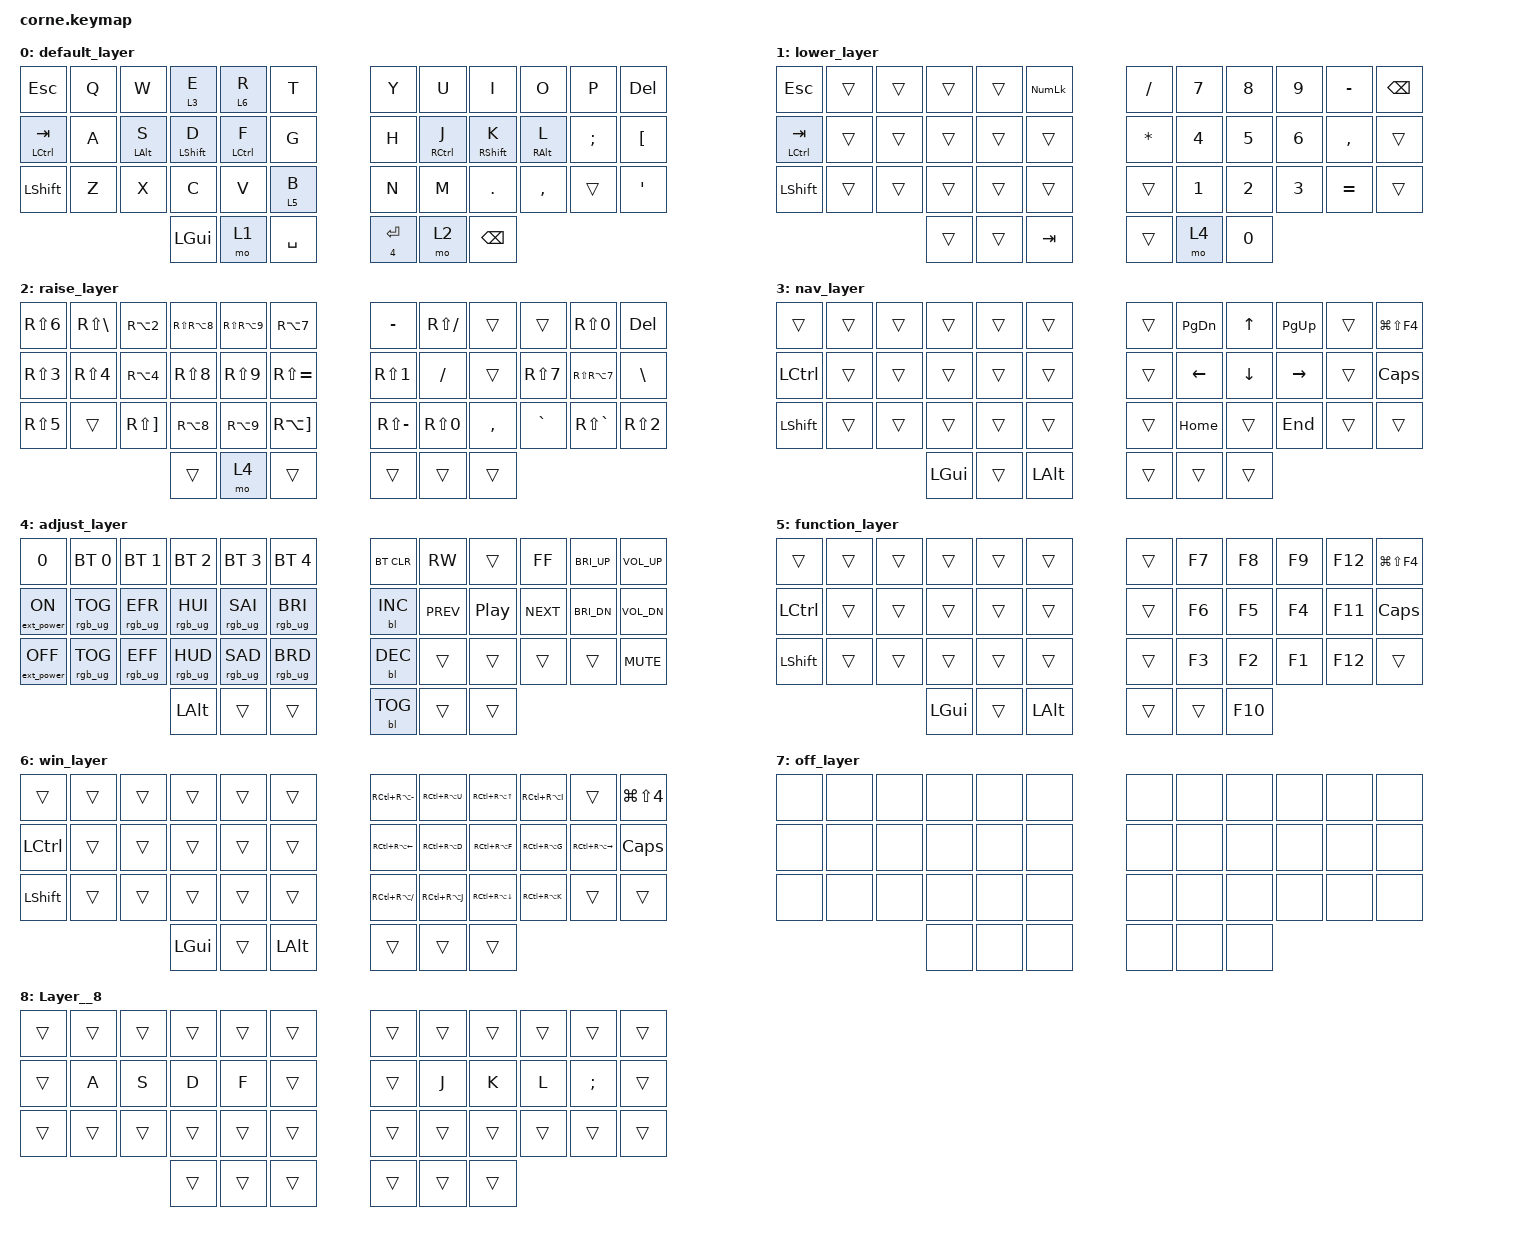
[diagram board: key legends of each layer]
/*
 * Copyright (c) 2020 The ZMK Contributors
 *
 * SPDX-License-Identifier: MIT
 */

#include <behaviors.dtsi>
#include <dt-bindings/zmk/keys.h>
#include <dt-bindings/zmk/bt.h>
#include <dt-bindings/zmk/ext_power.h>// defines readable layer index
#include <dt-bindings/zmk/rgb.h>
#include <dt-bindings/zmk/backlight.h>


#define DEFAULT 0
#define LOWER   1
#define RAISE   2
#define NAVI    3
#define ADJS    4
#define FUNC    5
#define WIN     6
#define off_layer 7

&mt {
    tapping-term-ms = <400>;
};

/ {
    behaviors {
        hm: homerow_mods {
            compatible = "zmk,behavior-hold-tap";
            label = "HOMEROW_MODS";
            #binding-cells = <2>;
            tapping-term-ms = <400>;
            quick-tap-ms = <0>;
            flavor = "tap-preferred";
            bindings =
                <&kp>,
                <&kp>;
        };
    };

    combos {
        compatible = "zmk,combos";

        gaming_layer_combo {
            bindings = <&tog 8>;
            key-positions = <2 3 4 7 8 9>;
        };

        suspend_layer_combo {
            bindings = <&tog 7>;
            key-positions = <14 15 16 19 20 21>;
        };
    };

    keymap {
        compatible = "zmk,keymap";

        default_layer {
            // DEFAULT LAYER
            // .--------------------------------------------------------------.       .-----------------------------------------------------------.
            // |   ESC        |    Q    |    W   |  E/NAV | R/WIN   |    T    |       |   Y   |    U    |    I    |    O    |     P    |   BKSP   |
            // |--------------+---------+--------+--------+---------+---------|       |-------+---------+---------+---------+----------+----------|
            // |   CTRL/Tab   |    A    |    S   |   D    | F       |    G    |       |   H   |    J    |    K    |    L    |     Ö    |     Ä    |
            // |--------------+---------+--------+--------+---------+---------|       |-------+---------+---------+---------+----------+----------|
            // |   SHFT       |    Z    |    X   |   C    |    V    | B/FUNC  |       |   N   |    M    |    .    |    ,    |     Å    |     NAV  |
            // '---------------------------------+--------+---------+---------+       |-------+---------+---------+-------------------------------'
            //                                   |  GUI   |   RSE   |   SPC   |       |  ENT  |   LWR   |  LALT   |
            //                                   '--------+---------+---------'       '-------+---------+---------'

            bindings = <
      &kp ESC   &kp Q       &kp W     &lt 3 E     &lt 6 R    &kp T              &kp Y       &kp U       &kp I       &kp O     &kp P  &kp DEL
 &mt LCTRL TAB   &kp A  &hm LALT S  &hm LSHIFT D  &hm LCTRL F    &kp G              &kp H       &hm RCTRL J  &hm RSHIFT K  &hm RALT L  &kp SEMI  &kp LBKT
     &kp LSHIFT   &kp Z       &kp X       &kp C       &kp V  &lt 5 B              &kp N       &kp M     &kp DOT    &kp COMMA    &trans  &kp SQT
                                     &kp LGUI       &mo 1  &kp SPACE              &mt 4 RET   &mo 2 &kp BSPC     
            >;
        };

        lower_layer {
            // LOWER Layer: Media and Number Pad
            // .--------------------------------------------------------------.    .-----------------------------------------------------------.
            // |     ESC      |         |        |        |         | Numlock |    |  / ?  |   7 &   |   8 *   |   9 (   |   - _    |   BKSP   |
            // |--------------+---------+--------+--------+---------+---------|    |-------+---------+---------+---------+----------+----------|
            // |  CTRL/Tab    |         |        |        |         |         |    |   *   |   4 $   |   5 %   |   6 ^   |   , <    |          |
            // |--------------+---------+--------+--------+---------+---------|    |-------+---------+---------+---------+----------+----------|
            // |  SHIFT       |         |        |        |         |         |    |       |   1 !   |   2 @   |   3 #   |   = +    |          |
            // '---------------------------------+--------+---------+---------+    |-------+---------+---------+-------------------------------'
            //                                   |        |         |         |    |       |         |    0 )  |
            //                                   '--------+---------+---------'    '-------+---------+---------'

            bindings = <
      &kp ESC  &trans  &trans  &trans  &trans  &kp KP_NUMLOCK          &kp FSLH  &kp NUMBER_7  &kp NUMBER_8  &kp NUMBER_9  &kp MINUS  &kp BSPC
 &mt LCTRL TAB  &trans  &trans  &trans  &trans          &trans          &kp STAR  &kp NUMBER_4  &kp NUMBER_5  &kp NUMBER_6  &kp COMMA    &trans
     &kp LSHIFT  &trans  &trans  &trans  &trans          &trans            &trans  &kp NUMBER_1  &kp NUMBER_2  &kp NUMBER_3  &kp EQUAL    &trans
                               &trans  &trans          &kp TAB            &trans         &mo 4  &kp NUMBER_0
            >;
        };

        raise_layer {
            // RAISE Layer: Special Chars
            // .--------------------------------------------------------------.    .-----------------------------------------------------------.
            // |       &      |   *     |    @   |   {    |    }    |    |    |    |   +   |    -    |         |         |          |   DEL    |
            // |--------------+---------+--------+--------+---------+---------|    |-------+---------+---------+---------+----------+----------|
            // |       #      |         |    $   |   (    |    )    |    `    |    |   !   |    _    |         |    /    |   \      |     '    |
            // |--------------+---------+--------+--------+---------+---------|    |-------+---------+---------+---------+----------+----------|
            // |       %      |         |    ^   |   [    |    ]    |    ~    |    |   ?   |    =    |    ,    |    <    |   >      |    ""    |
            // '---------------------------------+--------+---------+---------+    |-------+---------+---------+-------------------------------'
            //                                   |        |         |         |    |       |         |         |
            //                                   '--------+---------+---------'    '-------+---------+---------'

            bindings = <
 &kp RS(N6)  &kp RS(BSLH)    &kp RA(N2)  &kp RS(RA(N8))  &kp RS(RA(N9))     &kp RA(N7)              &kp MINUS  &kp RS(FSLH)     &trans      &trans      &kp RS(N0)     &kp DEL
 &kp RS(N3)    &kp RS(N4)    &kp RA(N4)      &kp RS(N8)      &kp RS(N9)  &kp RS(EQUAL)             &kp RS(N1)      &kp FSLH     &trans  &kp RS(N7)  &kp RS(RA(N7))    &kp BSLH
 &kp RS(N5)        &trans  &kp RS(RBKT)      &kp RA(N8)      &kp RA(N9)   &kp RA(RBKT)          &kp RS(MINUS)    &kp RS(N0)  &kp COMMA   &kp GRAVE   &kp RS(GRAVE)  &kp RS(N2)
                                                 &trans           &mo 4         &trans                 &trans        &trans     &trans
            >;
        };

        nav_layer {
            // NAVIGATION Layer: Directions
            // .--------------------------------------------------------------.    .-----------------------------------------------------------.
            // |              |         |        |        |         |         |    |       |  PG DN  |   UP    |  PG UP  |          |  PrtScn  |
            // |--------------+---------+--------+--------+---------+---------|    |-------+---------+---------+---------+----------+----------|
            // |     CTRL     |         |        |        |         |         |    |       |  LEFT   |  DOWN   |  RIGHT  |          | CAPS LCK |
            // |--------------+---------+--------+--------+---------+---------|    |-------+---------+---------+---------+----------+----------|
            // |     SHIFT    |         |        |        |         |         |    |       | PG HOME |         | PG END  |          |          |
            // '---------------------------------+--------+---------+---------+    |-------+---------+---------+-------------------------------'
            //                                   |  GUI   |         |   ALT   |    |       |         |         |
            //                                   '--------+---------+---------'    '-------+---------+---------'

            bindings = <
   &trans  &trans  &trans    &trans  &trans    &trans          &trans  &kp PG_DN  &kp UP  &kp PG_UP  &trans  &kp LG(LS(F4))
 &kp LCTRL  &trans  &trans    &trans  &trans    &trans          &trans   &kp LEFT  &kp DOWN   &kp RIGHT  &trans        &kp CLCK
 &kp LSHIFT  &trans  &trans    &trans  &trans    &trans          &trans   &kp HOME    &trans    &kp END  &trans          &trans
                           &kp LGUI  &trans  &kp LALT          &trans     &trans    &trans
            >;
        };

             adjust_layer {
            // ADJUST Layer: Setting and Configurations
            // .------------------------------------------------------------.    .-------------------------------------------------------------.
            // |      0     |  BT 0   |  BT 1  |  BT 2  |  BT 3   |  BT 4   |    |  BT CLR |    RR   |         |    FF   | Bright Up|  Vol up  |
            // |------------+---------+--------+--------+---------+---------|    |---------+---------+---------+---------+----------+----------|
            // | ExtPow ON  | RGB_TOG | RGB_EFR| HUE UP | RGB_SAI |         |    |         |    Prev |Play/Pau.|    Next | Bright Dn|  Vol dn  |
            // |------------+---------+--------+--------+---------+---------|    |---------+---------+---------+---------+----------+----------|
            // | ExtPow OFF |         | RGB_EFF| HUE DN | RGB_SAD |         |    |         |         |         |         |          |  Mute    |
            // '-------------------------------+--------+---------+---------+    |---------+---------+---------+-------------------------------'
            //                                 |        |         |         |    |         |         |         |
            //                                 '--------+---------+---------'    '---------+---------+---------'

            bindings = <
      &kp NUMBER_0      &bt BT_SEL 0        &bt BT_SEL 1           &bt BT_SEL 2           &bt BT_SEL 3            &bt BT_SEL 4   /**/        &bt BT_CLR  &kp C_RW    &trans      &kp C_FF     &kp C_BRI_UP  &kp C_VOL_UP
      &ext_power EP_ON  &rgb_ug RGB_TOG     &rgb_ug RGB_EFR        &rgb_ug RGB_HUI        &rgb_ug RGB_SAI         &rgb_ug RGB_BRI        /**/        &bl BL_INC      &kp C_PREV  &kp C_PP    &kp C_NEXT   &kp C_BRI_DN  &kp C_VOL_DN
      &ext_power EP_OFF &rgb_ug RGB_TOG     &rgb_ug RGB_EFF        &rgb_ug RGB_HUD        &rgb_ug RGB_SAD         &rgb_ug RGB_BRD  /**/        &bl BL_DEC      &trans      &trans      &trans       &trans        &kp K_MUTE
                                                                                          &kp LALT  &trans  &trans               /**/        &bl BL_TOG      &trans      &trans
            >;
        };

        function_layer {
            // Function Layer: Functionality
            // .--------------------------------------------------------------.    .-----------------------------------------------------------.
            // |              |         |        |        |         |         |    |       |  F7     |  F8     |  F9     |  F12     |  PrtScn  |
            // |--------------+---------+--------+--------+---------+---------|    |-------+---------+---------+---------+----------+----------|
            // |     CTRL     |         |        |        |         |         |    |       |  F6     |  F5     |  F4     |  F11     | CAPS LCK |
            // |--------------+---------+--------+--------+---------+---------|    |-------+---------+---------+---------+----------+----------|
            // |     SHIFT    |         |        |        |         |         |    |       |  F3     |  F2     |  F1     |          |          |
            // '---------------------------------+--------+---------+---------+    |-------+---------+---------+-------------------------------'
            //                                   |  GUI   |         |   ALT   |    |       |         |  F10    |
            //                                   '--------+---------+---------'    '-------+---------+---------'

            bindings = <
   &trans  &trans  &trans    &trans  &trans    &trans          &trans  &kp F7   &kp F8  &kp F9  &kp F12  &kp LG(LS(F4))
 &kp LCTRL  &trans  &trans    &trans  &trans    &trans          &trans  &kp F6   &kp F5  &kp F4  &kp F11        &kp CLCK
 &kp LSHIFT  &trans  &trans    &trans  &trans    &trans          &trans  &kp F3   &kp F2  &kp F1  &kp F12          &trans
                           &kp LGUI  &trans  &kp LALT          &trans  &trans  &kp F10
            >;
        };

        win_layer {
            // Window Layer: Windows
            // .--------------------------------------------------------------.    .-----------------------------------------------------------.
            // |              |         |        |        |         |         |    |   +   |  UL     |  UM     |  UR     |  F12     |  PrtScn  |
            // |--------------+---------+--------+--------+---------+---------|    |-------+---------+---------+---------+----------+----------|
            // |     CTRL     |         |        |        |         |         |    |       |  ML     |  MM     |  MR     |  F11     | CAPS LCK |
            // |--------------+---------+--------+--------+---------+---------|    |-------+---------+---------+---------+----------+----------|
            // |     SHIFT    |         |        |        |         |         |    |   -   |  BL     |  ML     |  MR     |          |          |
            // '---------------------------------+--------+---------+---------+    |-------+---------+---------+-------------------------------'
            //                                   |  GUI   |         |   ALT   |    |       |         |  F10    |
            //                                   '--------+---------+---------'    '-------+---------+---------'

            bindings = <
   &trans  &trans  &trans    &trans  &trans    &trans          &kp RC(RA(MINUS))  &kp RC(RA(U))  &kp RC(RA(UP))  &kp RC(RA(I))            &trans  &kp LG(LS(N4))
 &kp LCTRL  &trans  &trans    &trans  &trans    &trans           &kp RC(RA(LEFT))  &kp RC(RA(D))     &kp RC(RA(F))  &kp RC(RA(G))  &kp RC(RA(RIGHT))        &kp CLCK
 &kp LSHIFT  &trans  &trans    &trans  &trans    &trans           &kp RC(RA(FSLH))  &kp RC(RA(J))  &kp RC(RA(DOWN))  &kp RC(RA(K))            &trans          &trans
                           &kp LGUI  &trans  &kp LALT                     &trans         &trans            &trans
            >;
        };

        off_layer {
            // Off-layer: Sends no commands
            // .--------------------------------------------------------------.    .-----------------------------------------------------------.
            // |              |         |        |        |         |         |    |       |         |         |         |          |          |
            // |--------------+---------+--------+--------+---------+---------|    |-------+---------+---------+---------+----------+----------|
            // |     CTRL     |         |        |        |         |         |    |       |         |         |         |          |          |
            // |--------------+---------+--------+--------+---------+---------|    |-------+---------+---------+---------+----------+----------|
            // |     SHIFT    |         |        |        |         |         |    |       |         |         |         |          |          |
            // '---------------------------------+--------+---------+---------+    |-------+---------+---------+-------------------------------'
            //                                   |        |         |         |    |       |         |         |
            //                                   '--------+---------+---------'    '-------+---------+---------'

            bindings = <
  &none   &none   &none   &none   &none   &none           &none   &none   &none   &none   &none   &none
  &none   &none   &none   &none   &none   &none           &none   &none   &none   &none   &none   &none
  &none   &none   &none   &none   &none   &none           &none   &none   &none   &none   &none   &none
                          &none   &none   &none           &none   &none   &none
            >;
        };
        // Gaming layed: removes mods from asd area
            // .--------------------------------------------------------------.    .-----------------------------------------------------------.
            // |              |         |        |        |         |         |    |       |         |         |         |          |          |
            // |--------------+---------+--------+--------+---------+---------|    |-------+---------+---------+---------+----------+----------|
            // |     CTRL     |         |        |        |         |         |    |       |         |         |         |          |          |
            // |--------------+---------+--------+--------+---------+---------|    |-------+---------+---------+---------+----------+----------|
            // |     SHIFT    |         |        |        |         |         |    |       |         |         |         |          |          |
            // '---------------------------------+--------+---------+---------+    |-------+---------+---------+-------------------------------'
            //                                   |        |         |         |    |       |         |         |
            //                                   '--------
        Layer__8 {
            bindings = <
 &trans  &trans  &trans  &trans  &trans  &trans          &trans  &trans  &trans  &trans         &trans  &trans
 &trans   &kp A   &kp S   &kp D   &kp F  &trans          &trans   &kp J   &kp K   &kp L  &kp SEMICOLON  &trans
 &trans  &trans  &trans  &trans  &trans  &trans          &trans  &trans  &trans  &trans         &trans  &trans
                         &trans  &trans  &trans          &trans  &trans  &trans
            >;
        };
    };
};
